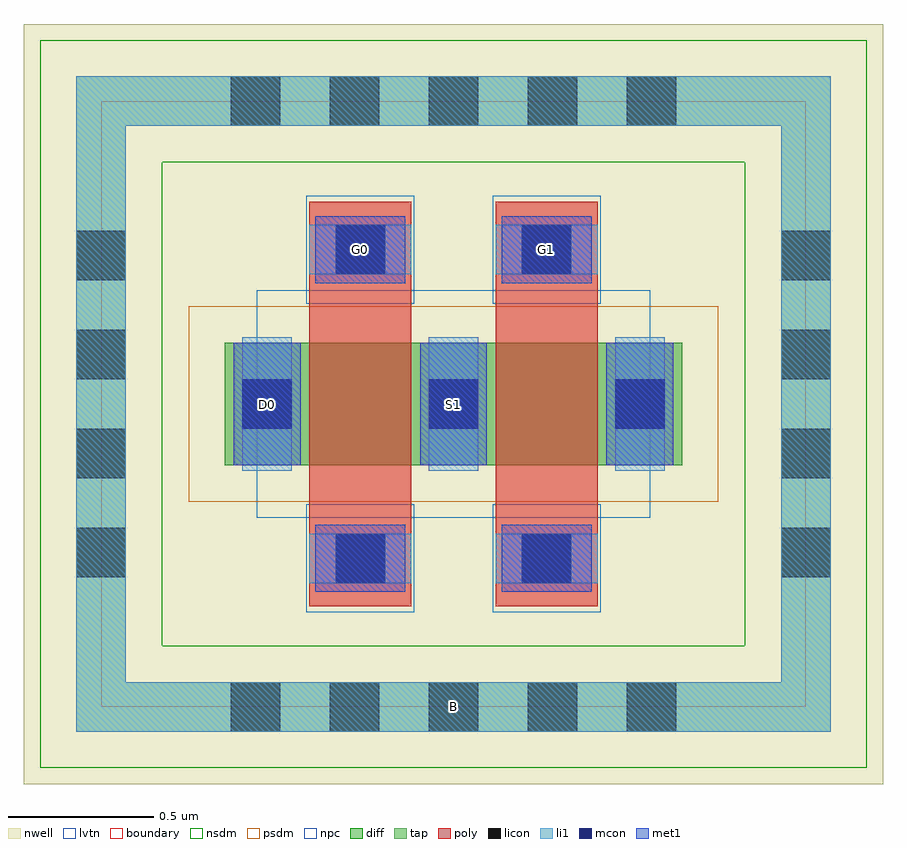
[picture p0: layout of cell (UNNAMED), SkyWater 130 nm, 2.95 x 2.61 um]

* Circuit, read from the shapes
.subckt (UNNAMED) B D0 G0 G1 S1
XM1 S1 G0 D0 B sky130_fd_pr__pfet_01v8_lvt w=0.42 l=0.35
XM2 n1 G1 S1 B sky130_fd_pr__pfet_01v8_lvt w=0.42 l=0.35
.ends

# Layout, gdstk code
import gdstk
lib = gdstk.Library(unit=1e-6, precision=1e-09)
def R(c, l, rs):  # rectangles x0, y0, x1, y1
    for r in rs: c.add(gdstk.rectangle(r[:2], r[2:], *l))
def A(c, l, x, y, w, h, nx, ny, dx, dy):  # array of equal rectangles
    R(c, l, [(x+i*dx, y+j*dy, x+i*dx+w, y+j*dy+h) for i in range(nx) for j in range(ny)])
nwell = (64, 20)
diff = (65, 20)
tap = (65, 44)
poly = (66, 20)
licon = (66, 44)
li1 = (67, 20)
mcon = (67, 44)
met1 = (68, 20)
nsdm = (93, 44)
psdm = (94, 20)
npc = (95, 20)
lvtn = (125, 44)
boundary = (235, 4)

c__unnamed_ = lib.new_cell('(UNNAMED)')
R(c__unnamed_, nwell, [(-1.475,-1.305,1.475,1.305)])
R(c__unnamed_, diff, [(-0.785,-0.21,0.785,0.21)])
R(c__unnamed_, tap, [(-1.295,-1.125,1.295,-0.955), (-1.295,-0.955,-1.125,0.955), (1.125,-0.955,1.295,0.955), (-1.295,0.955,1.295,1.125)])
R(c__unnamed_, poly, [(-0.495,-0.695,-0.145,0.695), (0.145,-0.695,0.495,0.695)])
A(c__unnamed_, licon, -0.765, -1.125, 0.17, 0.17, 5, 2, 0.34, 2.08)
A(c__unnamed_, licon, -1.295, -0.595, 0.17, 0.17, 1, 4, 0, 0.34)
A(c__unnamed_, licon, 1.125, -0.595, 0.17, 0.17, 1, 4, 0, 0.34)
A(c__unnamed_, licon, -0.725, -0.085, 0.17, 0.17, 3, 1, 0.64, 0)
R(c__unnamed_, licon, [(-0.405,-0.615,-0.235,-0.445), (0.235,-0.615,0.405,-0.445), (-0.405,0.445,-0.235,0.615), (0.235,0.445,0.405,0.615)])
A(c__unnamed_, li1, -0.725, -0.23, 0.17, 0.46, 3, 1, 0.64, 0)
R(c__unnamed_, li1, [(-1.295,-1.125,1.295,-0.955), (-1.295,-0.955,-1.125,0.955), (1.125,-0.955,1.295,0.955), (-0.495,-0.615,-0.145,-0.445), (0.145,-0.615,0.495,-0.445), (-0.495,0.445,-0.145,0.615), (0.145,0.445,0.495,0.615), (-1.295,0.955,1.295,1.125)])
A(c__unnamed_, mcon, -0.725, -0.085, 0.17, 0.17, 3, 1, 0.64, 0)
R(c__unnamed_, mcon, [(-0.405,-0.615,-0.235,-0.445), (0.235,-0.615,0.405,-0.445), (-0.405,0.445,-0.235,0.615), (0.235,0.445,0.405,0.615)])
A(c__unnamed_, met1, -0.755, -0.21, 0.23, 0.42, 3, 1, 0.64, 0)
R(c__unnamed_, met1, [(-0.475,-0.645,-0.165,-0.415), (0.165,-0.645,0.475,-0.415), (-0.475,0.415,-0.165,0.645), (0.165,0.415,0.475,0.645)])
R(c__unnamed_, nsdm, [(-1.42,-1.25,1.42,-0.83), (-1.42,-0.83,-1,0.83), (1,-0.83,1.42,0.83), (-1.42,0.83,1.42,1.25)])
R(c__unnamed_, psdm, [(-0.91,-0.335,0.91,0.335)])
R(c__unnamed_, npc, [(-0.505,-0.715,-0.135,-0.345), (0.135,-0.715,0.505,-0.345), (-0.505,0.345,-0.135,0.715), (0.135,0.345,0.505,0.715)])
R(c__unnamed_, lvtn, [(-0.675,-0.39,0.675,0.39)])
R(c__unnamed_, boundary, [(-1.21,-1.04,1.21,1.04)])
c__unnamed_.add(gdstk.Label('B', (0,-1.04), layer=67, texttype=5))
c__unnamed_.add(gdstk.Label('D0', (-0.64,0), layer=67, texttype=5))
c__unnamed_.add(gdstk.Label('G0', (-0.32,0.53), layer=67, texttype=5))
c__unnamed_.add(gdstk.Label('S1', (0,0), layer=67, texttype=5))
c__unnamed_.add(gdstk.Label('G1', (0.32,0.53), layer=67, texttype=5))

lib.write_gds('_UNNAMED_.gds')
